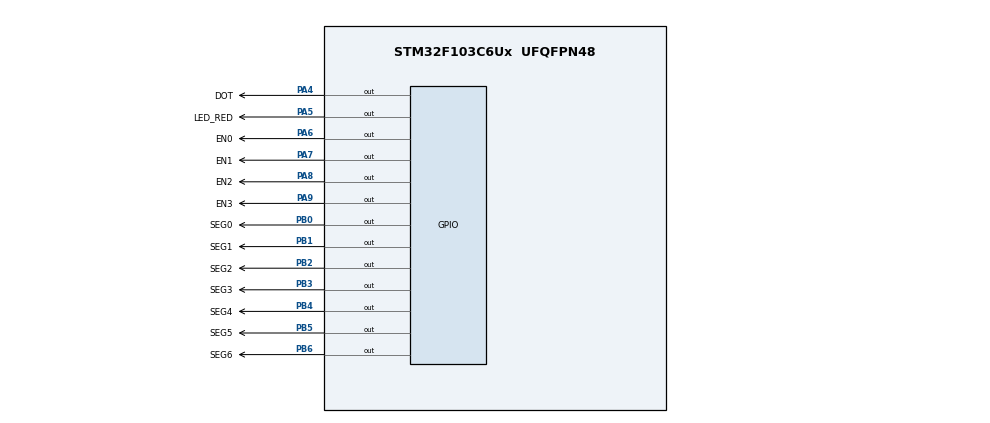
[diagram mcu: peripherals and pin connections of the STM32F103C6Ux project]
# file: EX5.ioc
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Mcu.Family=STM32F1
Mcu.Name=STM32F103C6Ux
Mcu.Package=UFQFPN48
NVIC.PriorityGroup=NVIC_PRIORITYGROUP_4
NVIC.TIM2_IRQn=true\:0\:0\:false\:false\:true\:true\:true
PA4.GPIO_Label=DOT
PA4.Signal=GPIO_Output
PA5.GPIO_Label=LED_RED
PA5.Signal=GPIO_Output
PA6.GPIO_Label=EN0
PA6.Signal=GPIO_Output
PA7.GPIO_Label=EN1
PA7.Signal=GPIO_Output
PA8.GPIO_Label=EN2
PA8.Signal=GPIO_Output
PA9.GPIO_Label=EN3
PA9.Signal=GPIO_Output
PB0.GPIO_Label=SEG0
PB0.Signal=GPIO_Output
PB1.GPIO_Label=SEG1
PB1.Signal=GPIO_Output
PB2.GPIO_Label=SEG2
PB2.Signal=GPIO_Output
PB3.GPIO_Label=SEG3
PB3.Signal=GPIO_Output
PB4.GPIO_Label=SEG4
PB4.Signal=GPIO_Output
PB5.GPIO_Label=SEG5
PB5.Signal=GPIO_Output
PB6.GPIO_Label=SEG6
PB6.Signal=GPIO_Output
ProjectManager.HeapSize=0x200
ProjectManager.StackSize=0x400
ProjectManager.TargetToolchain=STM32CubeIDE
RCC.APB1Freq_Value=8000000
RCC.APB2Freq_Value=8000000
TIM2.Period=9
TIM2.Prescaler=7999
VP_SYS_VS_ND.Mode=No_Debug
VP_TIM2_VS_ClockSourceINT.Mode=Internal
board=custom

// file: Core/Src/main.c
/* USER CODE BEGIN Header */
/**
  ******************************************************************************
  * @file           : main.c
  * @brief          : Main program body
  ******************************************************************************
  * @attention
  *
  * <h2><center>&copy; Copyright (c) 2022 STMicroelectronics.
  * All rights reserved.</center></h2>
  *
  * This software component is licensed by ST under BSD 3-Clause license,
  * the "License"; You may not use this file except in compliance with the
  * License. You may obtain a copy of the License at:
  *                        opensource.org/licenses/BSD-3-Clause
  *
  ******************************************************************************
  */
/* USER CODE END Header */
#include "main.h"

TIM_HandleTypeDef htim2;

void SystemClock_Config(void);
static void MX_GPIO_Init(void);
static void MX_TIM2_Init(void);

/* USER CODE BEGIN 0 */
//setTimer0
int timer0_counter=0;
int timer0_flag=0;
int timer_cycle=10;
void setTimer0(int duration){
	timer0_counter=duration/timer_cycle;
	timer0_flag=0;
}
//setTimer1
int timer1_counter=0;
int timer1_flag=0;
void setTimer1(int duration){
	timer1_counter=duration/timer_cycle;
	timer1_flag=0;
}
void timer_run(){
	if(timer0_counter>0){
		timer0_counter--;
		if(timer0_counter<=0){
			timer0_flag=1;
		}
	}
	if(timer1_counter>0){
		timer1_counter--;
		if(timer1_counter<=0){
			timer1_flag=1;
		}
	}
}
/* USER CODE END 0 */

int main(void)
{

  /* MCU Configuration--------------------------------------------------------*/

  /* Reset of all peripherals, Initializes the Flash interface and the Systick. */
  HAL_Init();

  /* Configure the system clock */
  SystemClock_Config();

  /* Initialize all configured peripherals */
  MX_GPIO_Init();
  MX_TIM2_Init();
  /* USER CODE BEGIN 2 */
  HAL_TIM_Base_Start_IT (& htim2 ) ;
  /* USER CODE END 2 */

  /* Infinite loop */
  /* USER CODE BEGIN WHILE */
  void display7SEG(int count){
  	  // ma hex display7Seg cua 0 den 10
  	  int16_t array[10]={
  			0x40,	//0
  			0x79,	//1
  			0x24,	//2
  			0x30,	//3
  			0x19,	//4
  			0x12,	//5
  			0x2,	//6
  			0x78,	//7
  			0x0,	//8
  			0x10	//9
  	  };
  	  //day gia tri ma hex cua so can hien thi vao thanh ghi
  	  GPIOB->ODR=array[count];
  }
  int hour=15, minute=8,second=50;
  int index_led_buffer=0;
  int led_buffer [4] = {1 , 2 , 3 , 4};
  void updateClockBUffer(){
	  led_buffer[0]=hour/10;
	  led_buffer[1]=hour-10*(hour/10);
	  led_buffer[2]=minute/10;
	  led_buffer[3]=minute-10*(minute/10);
  }
  setTimer0(500);
  while (1)
  {
	  /*second++;
	  if(second>=60){
		  second=0;
		  minute++;
	  }
	  if(minute>=60){
		  minute=0;
		  hour++;
	  }
	  if(hour>=24){
		  hour=0;
	  }*/
	  if(timer0_flag==1){
		  setTimer0(500);
		  updateClockBUffer();
		  display7SEG(led_buffer[index_led_buffer]);
		  index_led_buffer++;
		  if(index_led_buffer>=4) index_led_buffer=0;
		  hour++;
		  minute++;
		  second++;
	  }
    /* USER CODE END WHILE */

  }
}

void SystemClock_Config(void)
{
  RCC_OscInitTypeDef RCC_OscInitStruct = {0};
  RCC_ClkInitTypeDef RCC_ClkInitStruct = {0};

  /** Initializes the RCC Oscillators according to the specified parameters
  * in the RCC_OscInitTypeDef structure.
  */
  RCC_OscInitStruct.OscillatorType = RCC_OSCILLATORTYPE_HSI;
  RCC_OscInitStruct.HSIState = RCC_HSI_ON;
  RCC_OscInitStruct.HSICalibrationValue = RCC_HSICALIBRATION_DEFAULT;
  RCC_OscInitStruct.PLL.PLLState = RCC_PLL_NONE;
  if (HAL_RCC_OscConfig(&RCC_OscInitStruct) != HAL_OK)
  {
    Error_Handler();
  }
  /** Initializes the CPU, AHB and APB buses clocks
  */
  RCC_ClkInitStruct.ClockType = RCC_CLOCKTYPE_HCLK|RCC_CLOCKTYPE_SYSCLK
                              |RCC_CLOCKTYPE_PCLK1|RCC_CLOCKTYPE_PCLK2;
  RCC_ClkInitStruct.SYSCLKSource = RCC_SYSCLKSOURCE_HSI;
  RCC_ClkInitStruct.AHBCLKDivider = RCC_SYSCLK_DIV1;
  RCC_ClkInitStruct.APB1CLKDivider = RCC_HCLK_DIV1;
  RCC_ClkInitStruct.APB2CLKDivider = RCC_HCLK_DIV1;

  if (HAL_RCC_ClockConfig(&RCC_ClkInitStruct, FLASH_LATENCY_0) != HAL_OK)
  {
    Error_Handler();
  }
}

static void MX_TIM2_Init(void)
{

  TIM_ClockConfigTypeDef sClockSourceConfig = {0};
  TIM_MasterConfigTypeDef sMasterConfig = {0};

  htim2.Instance = TIM2;
  htim2.Init.Prescaler = 7999;
  htim2.Init.CounterMode = TIM_COUNTERMODE_UP;
  htim2.Init.Period = 9;
  htim2.Init.ClockDivision = TIM_CLOCKDIVISION_DIV1;
  htim2.Init.AutoReloadPreload = TIM_AUTORELOAD_PRELOAD_DISABLE;
  if (HAL_TIM_Base_Init(&htim2) != HAL_OK)
  {
    Error_Handler();
  }
  sClockSourceConfig.ClockSource = TIM_CLOCKSOURCE_INTERNAL;
  if (HAL_TIM_ConfigClockSource(&htim2, &sClockSourceConfig) != HAL_OK)
  {
    Error_Handler();
  }
  sMasterConfig.MasterOutputTrigger = TIM_TRGO_RESET;
  sMasterConfig.MasterSlaveMode = TIM_MASTERSLAVEMODE_DISABLE;
  if (HAL_TIMEx_MasterConfigSynchronization(&htim2, &sMasterConfig) != HAL_OK)
  {
    Error_Handler();
  }

}

static void MX_GPIO_Init(void)
{
  GPIO_InitTypeDef GPIO_InitStruct = {0};

  /* GPIO Ports Clock Enable */
  __HAL_RCC_GPIOA_CLK_ENABLE();
  __HAL_RCC_GPIOB_CLK_ENABLE();

  /*Configure GPIO pin Output Level */
  HAL_GPIO_WritePin(GPIOA, DOT_Pin|LED_RED_Pin|EN0_Pin|EN1_Pin
                          |EN2_Pin|EN3_Pin, GPIO_PIN_RESET);

  /*Configure GPIO pin Output Level */
  HAL_GPIO_WritePin(GPIOB, SEG0_Pin|SEG1_Pin|SEG2_Pin|SEG3_Pin
                          |SEG4_Pin|SEG5_Pin|SEG6_Pin, GPIO_PIN_RESET);

  /*Configure GPIO pins : DOT_Pin LED_RED_Pin EN0_Pin EN1_Pin
                           EN2_Pin EN3_Pin */
  GPIO_InitStruct.Pin = DOT_Pin|LED_RED_Pin|EN0_Pin|EN1_Pin
                          |EN2_Pin|EN3_Pin;
  GPIO_InitStruct.Mode = GPIO_MODE_OUTPUT_PP;
  GPIO_InitStruct.Pull = GPIO_NOPULL;
  GPIO_InitStruct.Speed = GPIO_SPEED_FREQ_LOW;
  HAL_GPIO_Init(GPIOA, &GPIO_InitStruct);

  /*Configure GPIO pins : SEG0_Pin SEG1_Pin SEG2_Pin SEG3_Pin
                           SEG4_Pin SEG5_Pin SEG6_Pin */
  GPIO_InitStruct.Pin = SEG0_Pin|SEG1_Pin|SEG2_Pin|SEG3_Pin
                          |SEG4_Pin|SEG5_Pin|SEG6_Pin;
  GPIO_InitStruct.Mode = GPIO_MODE_OUTPUT_PP;
  GPIO_InitStruct.Pull = GPIO_NOPULL;
  GPIO_InitStruct.Speed = GPIO_SPEED_FREQ_LOW;
  HAL_GPIO_Init(GPIOB, &GPIO_InitStruct);

}

/* USER CODE BEGIN 4 */
void HAL_TIM_PeriodElapsedCallback ( TIM_HandleTypeDef * htim ){
	timer_run();
}
/* USER CODE END 4 */

void Error_Handler(void)
{
  __disable_irq();
  while (1)
  {
  }
}

/************************ (C) COPYRIGHT STMicroelectronics *****END OF FILE****/
